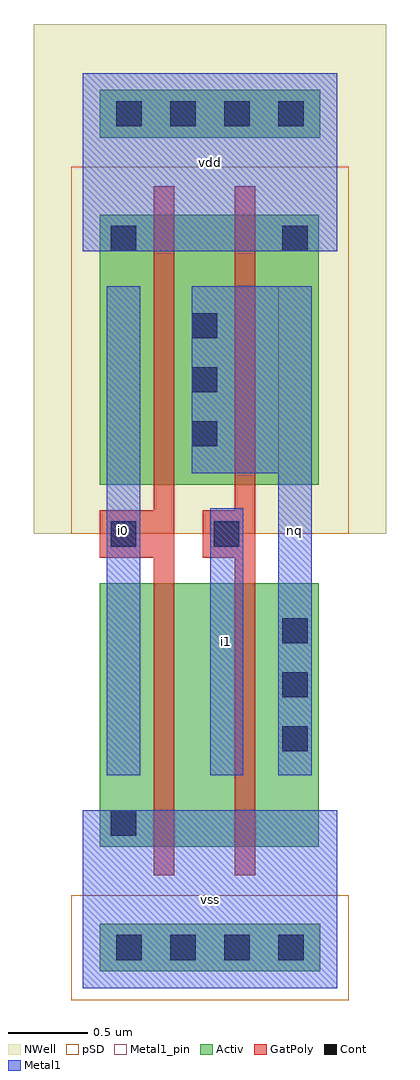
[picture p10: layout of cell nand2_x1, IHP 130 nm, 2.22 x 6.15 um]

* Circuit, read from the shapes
.subckt nand2_x1 i0 i1 nq vdd vss
XM1 n1 i0 vss vss sg13_lv_nmos w=1.66u l=0.13u
XM2 nq i1 n1 vss sg13_lv_nmos w=1.66u l=0.13u
XM3 nq i0 vdd vdd sg13_lv_pmos w=1.7u l=0.13u
XM4 vdd i1 nq vdd sg13_lv_pmos w=1.7u l=0.13u
.ends

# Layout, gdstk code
import gdstk
lib = gdstk.Library(unit=1e-6, precision=1e-09)
def R(c, l, rs):  # rectangles x0, y0, x1, y1
    for r in rs: c.add(gdstk.rectangle(r[:2], r[2:], *l))
def A(c, l, x, y, w, h, nx, ny, dx, dy):  # array of equal rectangles
    R(c, l, [(x+i*dx, y+j*dy, x+i*dx+w, y+j*dy+h) for i in range(nx) for j in range(ny)])
def P(c, l, *ps):  # polygons
    for p in ps: c.add(gdstk.Polygon(p, *l))
Activ = (1, 0)
GatPoly = (5, 0)
Cont = (6, 0)
Metal1 = (8, 0)
Metal1_pin = (8, 2)
pSD = (14, 0)
NWell = (31, 0)

nand2_x1 = lib.new_cell('nand2_x1')
R(nand2_x1, Activ, [(0.105,0.105,1.495,0.405), (0.105,0.89,1.485,2.55), (0.105,3.17,1.485,4.87), (0.105,5.355,1.495,5.655)])
P(nand2_x1, GatPoly, [(0.445,0.71),(0.445,2.71),(0.105,2.71),(0.105,3.01),(0.445,3.01),(0.445,5.05),(0.575,5.05),(0.575,0.71)],
  [(0.955,0.71),(0.955,2.71),(0.755,2.71),(0.755,3.01),(0.955,3.01),(0.955,5.05),(1.085,5.05),(1.085,0.71)])
A(nand2_x1, Cont, 0.21, 0.175, 0.16, 0.16, 4, 2, 0.34, 5.25)
A(nand2_x1, Cont, 1.255, 1.49, 0.16, 0.16, 1, 3, 0, 0.34)
A(nand2_x1, Cont, 0.685, 3.41, 0.16, 0.16, 1, 3, 0, 0.34)
R(nand2_x1, Cont, [(0.175,0.96,0.335,1.12), (0.175,2.78,0.335,2.94), (0.825,2.78,0.985,2.94), (0.175,4.64,0.335,4.8), (1.255,4.64,1.415,4.8)])
R(nand2_x1, Metal1, [(0,0,1.6,1.12), (0.15,1.34,0.36,4.42), (0.8,1.34,1.01,3.02), (0,4.64,1.6,5.76)])
P(nand2_x1, Metal1, [(1.23,1.34),(1.23,3.24),(0.685,3.24),(0.685,4.42),(1.44,4.42),(1.44,1.34)])
R(nand2_x1, Metal1_pin, [(0,0,1.6,1.12), (0.15,1.34,0.36,4.42), (0.8,1.34,1.01,3.02), (1.23,1.34,1.44,4.42), (0,4.64,1.6,5.76)])
R(nand2_x1, pSD, [(-0.075,-0.075,1.675,0.585), (-0.075,2.86,1.675,5.17)])
R(nand2_x1, NWell, [(-0.31,2.86,1.91,6.07)])
nand2_x1.add(gdstk.Label('vss', (0.8,0.56), layer=8, texttype=2))
nand2_x1.add(gdstk.Label('vdd', (0.8,5.2), layer=8, texttype=2))
nand2_x1.add(gdstk.Label('i0', (0.255,2.88), layer=8, texttype=2))
nand2_x1.add(gdstk.Label('nq', (1.335,2.88), layer=8, texttype=2))
nand2_x1.add(gdstk.Label('i1', (0.905,2.18), layer=8, texttype=2))

lib.write_gds('nand2_x1.gds')
